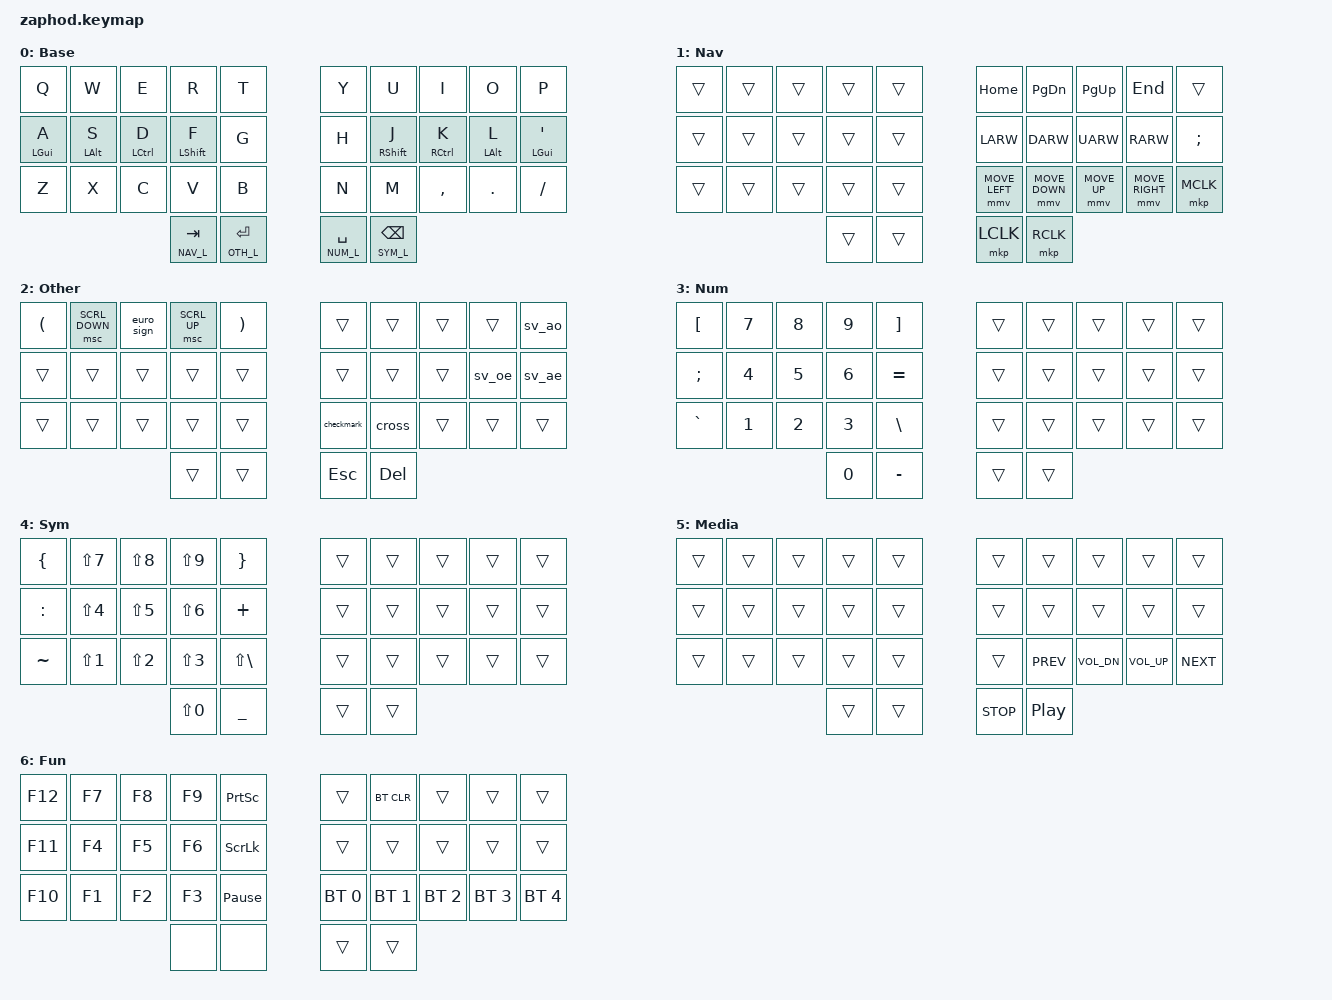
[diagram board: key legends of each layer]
/*
 * Copyright (c) 2021 Pete Johanson
 *
 * SPDX-License-Identifier: MIT
 */

#include <behaviors.dtsi>
#include <dt-bindings/zmk/keys.h>
#include <dt-bindings/zmk/bt.h>
#include <dt-bindings/zmk/outputs.h>

// Mouse stuff
// https://docs.qmk.fm/features/mouse_keys
//#define ZMK_POINTING_DEFAULT_MOVE_VAL 1500  // default: 600
//#define ZMK_POINTING_DEFAULT_SCRL_VAL 20    // default: 10
#include <dt-bindings/zmk/pointing.h>

#define HOST_OS 1  // set to 1 for Linux
#include "../../../zmk-nodefree-config/helper.h"
#include "../../../zmk-nodefree-config/international_chars/swedish.dtsi"

#define NAV_L 1
#define OTH_L 2
#define NUM_L 3
#define SYM_L 4
#define MED_L 5
#define FUN_L 6

ZMK_UNICODE_SINGLE(euro_sign, N2, N0, A, C) // €

                                          // punctuation
ZMK_UNICODE_SINGLE(bang, N2, N0, N3, D)    // ‽
ZMK_UNICODE_SINGLE(irony     , N2, E, N2, E)    // ⸮
                                          // emojis
//ZMK_UNICODE_SINGLE(SNEK      , N1, F, N4, N0, D) // 🐍
//ZMK_UNICODE_SINGLE(THUMBUP   , N1, F, N4, N4, D) // 👍
ZMK_UNICODE_SINGLE(checkmark , N2, N7, N0, N5)    // ✅
ZMK_UNICODE_SINGLE(cross     , N2, N7, N4, C)    // ❌
ZMK_UNICODE_SINGLE(shamrock  , N2, N6, N1, N8)    // ☘
ZMK_UNICODE_SINGLE(rad       , N2, N6, N2, N2)    // ☢
ZMK_UNICODE_SINGLE(bio       , N2, N6, N2, N3)    // ☣
//ZMK_UNICODE_SINGLE(POOP      , N1, F, N4, A, N9) // 💩
//ZMK_UNICODE_SINGLE(CRASH     , N1, F, N4, A, N5) // 💥
ZMK_UNICODE_SINGLE(CCCP      , N2, N6, N2, D)    // ☭
ZMK_UNICODE_SINGLE(lighting  , N2, N6, A, N1)    // ⚡

// Using layer taps on thumbs, having quick tap as well helps w/ repeating space/backspace
&lt { quick-tap-ms = <200>; };

/ {
    combos {
        compatible = "zmk,combos";

        med_mo {
	    timeout-ms = <50>;
            key-positions = <30 31>;
            bindings = <&mo MED_L>;
        };

        fn_mo {
	    timeout-ms = <50>;
            key-positions = <32 33>;
            bindings = <&mo FUN_L>;
        };
    };

    behaviors {
        hm: homerow_mods {
            compatible = "zmk,behavior-hold-tap";
            label = "homerow mods";
            #binding-cells = <2>;
            tapping_term_ms = <200>;
            flavor = "tap-preferred";
            bindings = <&kp>, <&kp>;
            // a quick tap+hold holds the tap key
            quick-tap-ms = <200>;
        };
    };

    keymap {
        compatible = "zmk,keymap";

	/* RC(0,0) RC(0,1) RC(0,2) RC(0,3) RC(0,4) 	RC(0,5) RC(0,6) RC(0,7) RC(0,8) RC(0,9) */
	/* RC(1,0) RC(1,1) RC(1,2) RC(1,3) RC(1,4) 	RC(1,5) RC(1,6) RC(1,7) RC(1,8) RC(1,9) */
	/* RC(2,0) RC(2,1) RC(2,2) RC(2,3) RC(2,4) 	RC(2,5) RC(2,6) RC(2,7) RC(2,8) RC(2,9) */
	/*                        RC(3,3)  RC(3,4) 	RC(3,5) RC(3,6) */
            
        default_layer {
            label = "Base";
            bindings = <
                &kp Q      &kp W      &kp E       &kp R          &kp T         &kp Y            &kp U          &kp I       &kp O      &kp P
                &hm LGUI A &hm LALT S &hm LCTRL D &hm LSHFT F    &kp G         &kp H            &hm RSHFT J    &hm RCTRL K &hm LALT L &hm LGUI QUOT
                &kp Z      &kp X      &kp C       &kp V          &kp B         &kp N            &kp M          &kp COMMA   &kp DOT    &kp FSLH
                                                  &lt NAV_L TAB  &lt OTH_L RET &lt NUM_L SPACE  &lt SYM_L BKSP
            >;
        };

        nav_layer {
            label = "Nav";
            bindings = <
                &trans     &trans     &trans      &trans          &trans       &kp HOME       &kp PG_DN      &kp PG_UP    &kp END         &trans
                &trans     &trans     &trans      &trans          &trans       &kp LARW       &kp DARW       &kp UARW     &kp RARW        &kp SEMI
                &trans     &trans     &trans      &trans          &trans       &mmv MOVE_LEFT &mmv MOVE_DOWN &mmv MOVE_UP &mmv MOVE_RIGHT &mkp MCLK
                                                  &trans          &trans       &mkp LCLK      &mkp RCLK
            >;
        };

        other_layer {
            label = "Other";
            bindings = <
                &kp LPAR   &msc SCRL_DOWN &euro_sign  &msc SCRL_UP    &kp RPAR     &trans           &trans        &trans       &trans     &sv_ao
                &trans     &trans         &trans      &trans          &trans       &trans           &trans        &trans       &sv_oe     &sv_ae
                &trans     &trans         &trans      &trans          &trans       &checkmark       &cross        &trans       &trans     &trans
                                                      &trans          &trans       &kp ESC          &kp DEL
            >;
        };

        num_layer {
            label = "Num";
            bindings = <
                &kp LBKT   &kp N7     &kp N8      &kp N9          &kp RBKT      &trans          &trans         &trans      &trans     &trans
                &kp SEMI   &kp N4     &kp N5      &kp N6          &kp EQUAL     &trans          &trans         &trans      &trans     &trans
                &kp GRAVE  &kp N1     &kp N2      &kp N3          &kp BSLH      &trans          &trans         &trans      &trans     &trans
                                                  &kp N0          &kp MINUS     &trans          &trans
            >;
        };

        sym_layer {
            label = "Sym";
            bindings = <
                &kp LBRC     &kp LS(N7)  &kp LS(N8)  &kp LS(N9) &kp RBRC        &trans &trans   &trans    &trans    &trans
                &kp COLON    &kp LS(N4)  &kp LS(N5)  &kp LS(N6) &kp PLUS        &trans &trans   &trans    &trans    &trans
                &kp TILDE    &kp LS(N1)  &kp LS(N2)  &kp LS(N3) &kp LS(BSLH)    &trans &trans   &trans    &trans    &trans
                                                     &kp LS(N0) &kp UNDER       &trans &trans
            >;
        };

        media_layer {
            label = "Media";
            bindings = <
                &trans	   &trans     &trans      &trans          &trans       &trans           &trans         &trans       &trans       &trans
                &trans     &trans     &trans      &trans          &trans       &trans           &trans         &trans       &trans       &trans
                &trans     &trans     &trans      &trans          &trans       &trans           &kp C_PREV     &kp C_VOL_DN &kp C_VOL_UP &kp C_NEXT
                                                  &trans          &trans       &kp C_STOP       &kp C_PLAY_PAUSE
            >;
        };

        fun_layer {
            label = "Fun";
            bindings = <
                &kp F12     &kp F7     &kp F8      &kp F9     &kp PSCRN         &trans          &bt BT_CLR     &trans       &trans       &trans
                &kp F11     &kp F4     &kp F5      &kp F6     &kp SLCK          &trans          &trans         &trans       &trans       &trans
                &kp F10     &kp F1     &kp F2      &kp F3     &kp PAUSE_BREAK   &bt BT_SEL 0    &bt BT_SEL 1   &bt BT_SEL 2 &bt BT_SEL 3 &bt BT_SEL 4
                                                   &none      &none             &trans          &trans
            >;
        };
    };
};

